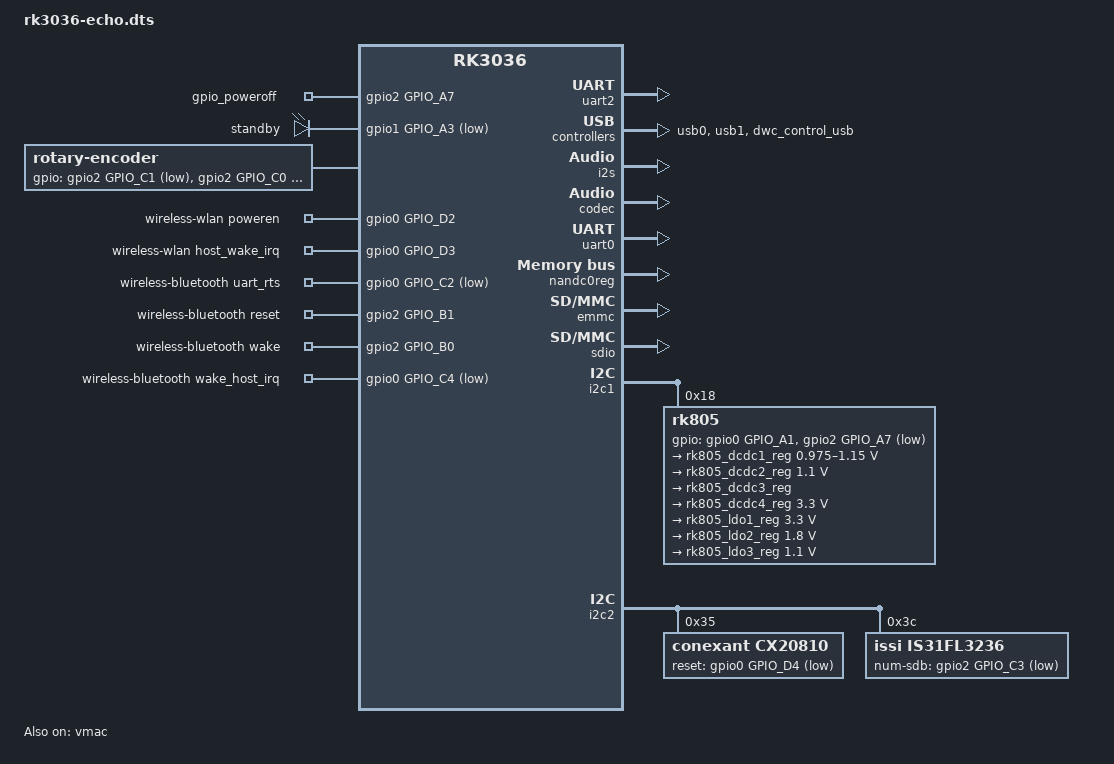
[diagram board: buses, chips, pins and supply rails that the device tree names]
/*
 * Copyright (c) 2016 Fuzhou Rockchip Electronics Co., Ltd
 *
 * This file is dual-licensed: you can use it either under the terms
 * of the GPL or the X11 license, at your option. Note that this dual
 * licensing only applies to this file, and not this project as a
 * whole.
 *
 *  a) This file is free software; you can redistribute it and/or
 *     modify it under the terms of the GNU General Public License as
 *     published by the Free Software Foundation; either version 2 of the
 *     License, or (at your option) any later version.
 *
 *     This file is distributed in the hope that it will be useful,
 *     but WITHOUT ANY WARRANTY; without even the implied warranty of
 *     MERCHANTABILITY or FITNESS FOR A PARTICULAR PURPOSE.  See the
 *     GNU General Public License for more details.
 *
 * Or, alternatively,
 *
 *  b) Permission is hereby granted, free of charge, to any person
 *     obtaining a copy of this software and associated documentation
 *     files (the "Software"), to deal in the Software without
 *     restriction, including without limitation the rights to use,
 *     copy, modify, merge, publish, distribute, sublicense, and/or
 *     sell copies of the Software, and to permit persons to whom the
 *     Software is furnished to do so, subject to the following
 *     conditions:
 *
 *     The above copyright notice and this permission notice shall be
 *     included in all copies or substantial portions of the Software.
 *
 *     THE SOFTWARE IS PROVIDED "AS IS", WITHOUT WARRANTY OF ANY KIND,
 *     EXPRESS OR IMPLIED, INCLUDING BUT NOT LIMITED TO THE WARRANTIES
 *     OF MERCHANTABILITY, FITNESS FOR A PARTICULAR PURPOSE AND
 *     NONINFRINGEMENT. IN NO EVENT SHALL THE AUTHORS OR COPYRIGHT
 *     HOLDERS BE LIABLE FOR ANY CLAIM, DAMAGES OR OTHER LIABILITY,
 *     WHETHER IN AN ACTION OF CONTRACT, TORT OR OTHERWISE, ARISING
 *     FROM, OUT OF OR IN CONNECTION WITH THE SOFTWARE OR THE USE OR
 *     OTHER DEALINGS IN THE SOFTWARE.
 */

/dts-v1/;
#include <dt-bindings/rkfb/rk_fb.h>
#include "rk3036.dtsi"
#include "rk3036-pinctrl.dtsi"
#include <dt-bindings/input/input.h>

/ {

	uart2 {
		status = "okay";
	};

	fiq-debugger {
		compatible = "rockchip,fiq-debugger";
		rockchip,serial-id = <2>;
		rockchip,signal-irq = <106>;
		rockchip,wake-irq = <0>;
		/* If enable uart uses irq instead of fiq */
		rockchip,irq-mode-enable = <1>;
		/* Only 115200 and 1500000 */
		rockchip,baudrate = <115200>;
		pinctrl-names = "default";
		pinctrl-0 = <&uart2_xfer>;
		status = "okay";
	};

	/* rk805 pmic sleep/poweroff */
	gpio_poweroff {
		compatible = "gpio-poweroff";
		gpios = <&gpio2 GPIO_A7 GPIO_ACTIVE_HIGH>;
		status = "okay";
	};

	power-led {
		compatible = "gpio-leds";
		power {
			label = "standby";
			gpios = <&gpio1 GPIO_A3 GPIO_ACTIVE_LOW>;
			default-state = "on";
		};
	};

	rotary {
		compatible = "rotary-encoder";
		gpios = <&gpio2 GPIO_C1 GPIO_ACTIVE_LOW>,
				<&gpio2 GPIO_C0 GPIO_ACTIVE_LOW>;
		linux,axis = <0>; /* REL_X */
		rotary-encoder,relative-axis;
	};

	wireless-wlan {
		compatible = "wlan-platdata";

		wifi_chip_type = "ap6212";
		sdio_vref = <0>; //1800mv or 3300mv

		//power_ctrl_by_pmu;
		//keep_wifi_power_on;
		//power_pmu_regulator = "act_ldo3";
		//power_pmu_enable_level = <1>; //1->HIGH, 0->LOW

		//vref_ctrl_enable;
		//vref_ctrl_gpio = <&gpio0 GPIO_A2 GPIO_ACTIVE_HIGH>;
		//vref_pmu_regulator = "act_ldo3";
		//vref_pmu_enable_level = <1>; //1->HIGH, 0->LOW

		WIFI,poweren_gpio = <&gpio0 GPIO_D2 GPIO_ACTIVE_HIGH>;
		WIFI,host_wake_irq = <&gpio0 GPIO_D3 GPIO_ACTIVE_HIGH>;
		//WIFI,reset_gpio = <&gpio2 GPIO_D6 GPIO_ACTIVE_LOW>;

		status = "okay";
};

	wireless-bluetooth {
		compatible = "bluetooth-platdata";
		//wifi-bt-power-toggle;

		uart_rts_gpios = <&gpio0 GPIO_C2 GPIO_ACTIVE_LOW>;
		pinctrl-names = "default","rts_gpio";
		pinctrl-0 = <&uart0_rts>;
		pinctrl-1 = <&uart0_rts_gpio>;

		//BT,power_gpio = <&gpio4 GPIO_D3 GPIO_ACTIVE_HIGH>;
		BT,reset_gpio = <&gpio2 GPIO_B1 GPIO_ACTIVE_HIGH>;
		BT,wake_gpio = <&gpio2 GPIO_B0 GPIO_ACTIVE_HIGH>;
		BT,wake_host_irq = <&gpio0 GPIO_C4 GPIO_ACTIVE_LOW>;

		status = "okay";
	};

	usb_control {
		compatible = "rockchip,rk3036-usb-control";
		//host_drv_gpio = <&gpio2 GPIO_C7 GPIO_ACTIVE_LOW>;
		//otg_drv_gpio = <&gpio0 GPIO_D2 GPIO_ACTIVE_LOW>;

		rockchip,remote_wakeup;
		rockchip,usb_irq_wakeup;
	};

	usb0: usb@10180000 {
		  /*0 - Normal, 1 - Force Host, 2 - Force Device*/
		  rockchip,usb-mode = <0>;
	};

	key {
		compatible = "rockchip,key";
		echo-wake-up {
			gpios = <&gpio2 GPIO_D1 GPIO_ACTIVE_LOW>;
			linux,code = <207>;
			label = "wake up";
		};
	};

	rockchip-audio {
		compatible = "rk3036-audio";
		dais {
			dai0 {
				audio-codec = <&codec>;
				audio-controller = <&i2s>;
				format = "i2s";
				//continuous-clock;
				//bitclock-inversion;
				//frame-inversion;
				//bitclock-master;
				//frame-master;
			};
		};
	};
};

&i2s {
	status = "okay";
};

&codec {
	status = "okay";
};

&uart0{
	status = "okay";
	dma-names = "!tx", "!rx";
	pinctrl-0 = <&uart0_xfer &uart0_cts>;
};

&sfc {
	/* use spi flash set "okay", otherwise set "disabled" */
	status = "disabled";
};

&nandc {
	/* used nand set "okay" ,used emmc set "disabled" */
	status = "disabled";
};

&nandc0reg {
	/* used nand set "disabled" ,used emmc set "okay" */
	status = "okay";
};

&emmc {
	clock-frequency = <37500000>;
	clock-freq-min-max = <400000 37500000>;

	supports-highspeed;
	supports-emmc;
	bootpart-no-access;

	supports-DDR_MODE;

	ignore-pm-notify;
	keep-power-in-suspend;

	//poll-hw-reset
	status = "okay";
};

&sdmmc {
	clock-frequency = <37500000>;
	clock-freq-min-max = <400000 37500000>;
	supports-highspeed;
	supports-sd;
	broken-cd;
	card-detect-delay = <200>;

	ignore-pm-notify;
	keep-power-in-suspend;

	//vmmc-supply = <&rk808_ldo5_reg>;
	status = "disabled";
};

&sdio {
	clock-frequency = <37500000>;
	clock-freq-min-max = <200000 37500000>;
	supports-highspeed;
	supports-sdio;
	ignore-pm-notify;
	keep-power-in-suspend;
	cap-sdio-irq;
	status = "okay";
};


&vmac {
	status = "okay";
	//pmu_regulator = "act_ldo5";
	//pmu_enable_level = <1>; //1->HIGH, 0->LOW
	//power-gpio = <&gpio0 GPIO_A6 GPIO_ACTIVE_HIGH>;
	reset-gpio = <&gpio2 GPIO_C6 GPIO_ACTIVE_LOW>;
};

&usb0 {
	status = "okay";
};

&usb1 {
	rockchip,hc-halt-quirk;
	status = "okay";
};

&dwc_control_usb {
	status = "okay";
	usb_uart {
		status = "disabled";
	};
};

&i2c1 {
	status = "okay";
	rk805: rk805@18 {
		reg = <0x18>;
		status = "okay";
	};
};

&i2c2 {
	status = "okay";
	rockchip,bus-recovery = <1>;

	cx20810: cx20810@35 {
		compatible = "conexant,cx20810";
		reg = <0x35>;
		rockchip,reset-gpio = <&gpio0 GPIO_D4 GPIO_ACTIVE_LOW>;
		status = "okay";
	};

	is31fl3236: led-controller@3c {
		compatible = "issi,is31fl3236";
		reg = <0x3c>;
		#address-cells = <1>;
		#size-cells = <0>;
		rockchip,num-sdb-gpio = <&gpio2 GPIO_C3 GPIO_ACTIVE_LOW>;
		status = "okay";

		led1: led@1 {
			label = "led1";
			reg = <1>;
			led-max-microamp = <10000>;
			linux,default-trigger = "timer";
			linux,default-trigger-delay-ms = <0>;
			linux,blink-delay-on-ms = <100>;
			linux,blink-delay-off-ms = <1200>;
		};

		led2: led@2 {
			label = "led2";
			reg = <2>;
			led-max-microamp = <10000>;
			linux,default-trigger = "timer";
			linux,default-trigger-delay-ms = <0>;
			linux,blink-delay-on-ms = <100>;
			linux,blink-delay-off-ms = <1200>;
		};

		led3: led@3 {
			label = "led3";
			reg = <3>;
			led-max-microamp = <10000>;
			linux,default-trigger = "default-on";
		};

		led4: led@4 {
			label = "led4";
			reg = <4>;
			led-max-microamp = <10000>;
			linux,default-trigger = "timer";
			linux,default-trigger-delay-ms = <100>;
			linux,blink-delay-on-ms = <100>;
			linux,blink-delay-off-ms = <1200>;
		};

		led5: led@5 {
			label = "led5";
			reg = <5>;
			led-max-microamp = <10000>;
			linux,default-trigger = "timer";
			linux,default-trigger-delay-ms = <100>;
			linux,blink-delay-on-ms = <100>;
			linux,blink-delay-off-ms = <1200>;
		};

		led6: led@6 {
			label = "led6";
			reg = <6>;
			led-max-microamp = <10000>;
			linux,default-trigger = "default-on";
		};

		led7: led@7 {
			label = "led7";
			reg = <7>;
			led-max-microamp = <10000>;
			linux,default-trigger = "timer";
			linux,default-trigger-delay-ms = <200>;
			linux,blink-delay-on-ms = <100>;
			linux,blink-delay-off-ms = <1200>;
		};

		led8: led@8 {
			label = "led8";
			reg = <8>;
			led-max-microamp = <10000>;
			linux,default-trigger = "timer";
			linux,default-trigger-delay-ms = <200>;
			linux,blink-delay-on-ms = <100>;
			linux,blink-delay-off-ms = <1200>;
		};

		led9: led@9 {
			label = "led9";
			reg = <9>;
			led-max-microamp = <10000>;
			linux,default-trigger = "default-on";
		};

		led10: led@10 {
			label = "led10";
			reg = <10>;
			led-max-microamp = <10000>;
			linux,default-trigger = "timer";
			linux,default-trigger-delay-ms = <300>;
			linux,blink-delay-on-ms = <100>;
			linux,blink-delay-off-ms = <1200>;
		};

		led11: led@11 {
			label = "led11";
			reg = <11>;
			led-max-microamp = <10000>;
			linux,default-trigger = "timer";
			linux,default-trigger-delay-ms = <300>;
			linux,blink-delay-on-ms = <100>;
			linux,blink-delay-off-ms = <1200>;
		};

		led12: led@12 {
			label = "led12";
			reg = <12>;
			led-max-microamp = <10000>;
			linux,default-trigger = "default-on";
		};

		led13: led@13 {
			label = "led13";
			reg = <13>;
			led-max-microamp = <10000>;
			linux,default-trigger = "timer";
			linux,default-trigger-delay-ms = <400>;
			linux,blink-delay-on-ms = <100>;
			linux,blink-delay-off-ms = <1200>;
		};

		led14: led@14 {
			label = "led14";
			reg = <14>;
			led-max-microamp = <10000>;
			linux,default-trigger = "timer";
			linux,default-trigger-delay-ms = <400>;
			linux,blink-delay-on-ms = <100>;
			linux,blink-delay-off-ms = <1200>;
		};

		led15: led@15 {
			label = "led15";
			reg = <15>;
			led-max-microamp = <10000>;
			linux,default-trigger = "default-on";
		};

		led16: led@16 {
			label = "led16";
			reg = <16>;
			led-max-microamp = <10000>;
			linux,default-trigger = "timer";
			linux,default-trigger-delay-ms = <500>;
			linux,blink-delay-on-ms = <100>;
			linux,blink-delay-off-ms = <1200>;
		};

		led17: led@17 {
			label = "led17";
			reg = <17>;
			led-max-microamp = <10000>;
			linux,default-trigger = "timer";
			linux,default-trigger-delay-ms = <500>;
			linux,blink-delay-on-ms = <100>;
			linux,blink-delay-off-ms = <1200>;
		};

		led18: led@18 {
			label = "led18";
			reg = <18>;
			led-max-microamp = <10000>;
			linux,default-trigger = "default-on";
		};

		led19: led@19 {
			label = "led19";
			reg = <19>;
			led-max-microamp = <10000>;
			linux,default-trigger = "timer";
			linux,default-trigger-delay-ms = <600>;
			linux,blink-delay-on-ms = <100>;
			linux,blink-delay-off-ms = <1200>;
		};

		led20: led@20 {
			label = "led20";
			reg = <20>;
			led-max-microamp = <10000>;
			linux,default-trigger = "timer";
			linux,default-trigger-delay-ms = <600>;
			linux,blink-delay-on-ms = <100>;
			linux,blink-delay-off-ms = <1200>;
		};

		led21: led@21 {
			label = "led21";
			reg = <21>;
			led-max-microamp = <10000>;
			linux,default-trigger = "default-on";
		};

		led22: led@22 {
			label = "led22";
			reg = <22>;
			led-max-microamp = <10000>;
			linux,default-trigger = "timer";
			linux,default-trigger-delay-ms = <700>;
			linux,blink-delay-on-ms = <100>;
			linux,blink-delay-off-ms = <1200>;
		};

		led23: led@23 {
			label = "led23";
			reg = <23>;
			led-max-microamp = <10000>;
			linux,default-trigger = "timer";
			linux,default-trigger-delay-ms = <700>;
			linux,blink-delay-on-ms = <100>;
			linux,blink-delay-off-ms = <1200>;
		};

		led124: led@24 {
			label = "led24";
			reg = <24>;
			led-max-microamp = <10000>;
			linux,default-trigger = "default-on";
		};

		led25: led@25 {
			label = "led25";
			reg = <25>;
			led-max-microamp = <10000>;
			linux,default-trigger = "timer";
			linux,default-trigger-delay-ms = <800>;
			linux,blink-delay-on-ms = <100>;
			linux,blink-delay-off-ms = <1200>;
		};

		led26: led@26 {
			label = "led26";
			reg = <26>;
			led-max-microamp = <10000>;
			linux,default-trigger = "timer";
			linux,default-trigger-delay-ms = <800>;
			linux,blink-delay-on-ms = <100>;
			linux,blink-delay-off-ms = <1200>;
		};

		led27: led@27 {
			label = "led27";
			reg = <27>;
			led-max-microamp = <10000>;
			linux,default-trigger = "default-on";
		};

		led28: led@28 {
			label = "led28";
			reg = <28>;
			led-max-microamp = <10000>;
			linux,default-trigger = "timer";
			linux,default-trigger-delay-ms = <900>;
			linux,blink-delay-on-ms = <100>;
			linux,blink-delay-off-ms = <1200>;
		};

		led29: led@29 {
			label = "led29";
			reg = <29>;
			led-max-microamp = <10000>;
			linux,default-trigger = "timer";
			linux,default-trigger-delay-ms = <900>;
			linux,blink-delay-on-ms = <100>;
			linux,blink-delay-off-ms = <1200>;
		};

		led30: led@30 {
			label = "led30";
			reg = <30>;
			led-max-microamp = <10000>;
			linux,default-trigger = "default-on";
		};

		led31: led@31 {
			label = "led31";
			reg = <31>;
			led-max-microamp = <10000>;
			linux,default-trigger = "timer";
			linux,default-trigger-delay-ms = <1000>;
			linux,blink-delay-on-ms = <100>;
			linux,blink-delay-off-ms = <1200>;
		};

		led32: led@32 {
			label = "led32";
			reg = <32>;
			led-max-microamp = <10000>;
			linux,default-trigger = "timer";
			linux,default-trigger-delay-ms = <1000>;
			linux,blink-delay-on-ms = <100>;
			linux,blink-delay-off-ms = <1200>;
		};

		led33: led@33 {
			label = "led33";
			reg = <33>;
			led-max-microamp = <10000>;
			linux,default-trigger = "default-on";
		};

		led34: led@34 {
			label = "led34";
			reg = <34>;
			led-max-microamp = <10000>;
			linux,default-trigger = "timer";
			linux,default-trigger-delay-ms = <1100>;
			linux,blink-delay-on-ms = <100>;
			linux,blink-delay-off-ms = <1200>;
		};

		led35: led@35 {
			label = "led35";
			reg = <35>;
			led-max-microamp = <10000>;
			linux,default-trigger = "timer";
			linux,default-trigger-delay-ms = <1100>;
			linux,blink-delay-on-ms = <100>;
			linux,blink-delay-off-ms = <1200>;
		};

		led36: led@36 {
			label = "led36";
			reg = <36>;
			led-max-microamp = <10000>;
			linux,default-trigger = "default-on";
		};
	};
};

#include "rk805.dtsi"
&rk805 {
	gpios = <&gpio0 GPIO_A1 GPIO_ACTIVE_HIGH>,
		<&gpio2 GPIO_A7 GPIO_ACTIVE_LOW>;
	rk805,system-power-controller;
	rk805,support_dc_chg = <1>; /* 1: dc chg; 0: usb chg */

	rtc {
		status = "okay";
	};

	regulators {
		rk805_dcdc1_reg: regulator@0 {
			regulator-name = "vdd_arm";
			regulator-min-microvolt = <975000>;
			regulator-max-microvolt = <1150000>;
			regulator-initial-mode = <0x1>;
			regulator-initial-state = <3>;
			regulator-boot-on;
			regulator-always-on;
			regulator-state-mem {
				regulator-state-mode = <0x2>;
				regulator-state-enabled;
				regulator-state-uv = <975000>;
			};
		};

		rk805_dcdc2_reg: regulator@1 {
			regulator-name = "vcc_dummy";
			regulator-min-microvolt = <1100000>;
			regulator-max-microvolt = <1100000>;
			regulator-initial-mode = <0x1>;
			regulator-initial-state = <3>;
			regulator-boot-on;
			regulator-always-on;
			regulator-state-mem {
				regulator-state-mode = <0x2>;
				regulator-state-enabled;
				regulator-state-uv = <1100000>;
			};
		};

		/*
		 * dcdc3 can't set by software, the voltage is
		 * decided by hardware.
		 */
		rk805_dcdc3_reg: regulator@2 {
			regulator-name = "vcc_ddr";
			regulator-initial-mode = <0x1>;
			regulator-initial-state = <3>;
			regulator-boot-on;
			regulator-always-on;
			regulator-state-mem {
				regulator-state-mode = <0x2>;
				regulator-state-enabled;
			};
		};

		rk805_dcdc4_reg: regulator@3 {
			regulator-name = "vcc_33";
			regulator-min-microvolt = <3300000>;
			regulator-max-microvolt = <3300000>;
			regulator-initial-mode = <0x1>;
			regulator-initial-state = <3>;
			regulator-boot-on;
			regulator-always-on;
			regulator-state-mem {
				regulator-state-mode = <0x2>;
				regulator-state-enabled;
				regulator-state-uv = <3300000>;
			};
		};

		rk805_ldo1_reg: regulator@4 {
			regulator-name = "vcca_33";
			regulator-min-microvolt = <3300000>;
			regulator-max-microvolt = <3300000>;
			regulator-initial-state = <3>;
			regulator-boot-on;
			regulator-always-on;
			regulator-state-mem {
				regulator-state-enabled;
				regulator-state-uv = <3300000>;
			};
		};

		rk805_ldo2_reg: regulator@5 {
			regulator-name = "vcc_18";
			regulator-min-microvolt = <1800000>;
			regulator-max-microvolt = <1800000>;
			regulator-initial-state = <3>;
			regulator-boot-on;
			regulator-always-on;
			regulator-state-mem {
				regulator-state-enabled;
				regulator-state-uv = <1800000>;
			};
		};

		rk805_ldo3_reg: regulator@6 {
			regulator-name = "vdd10_pmu";
			regulator-min-microvolt = <1100000>;
			regulator-max-microvolt = <1100000>;
			regulator-initial-state = <3>;
			regulator-boot-on;
			regulator-always-on;
			regulator-state-mem {
				regulator-state-enabled;
				regulator-state-uv = <1100000>;
			};
		};
	};
};

&clk_core_dvfs_table {
	operating-points = <
		/* KHz    uV */
		408000 1000000
		600000 1000000
		816000 1100000
		1008000 1150000
	>;
	status = "okay";
};

&clk_ddr_dvfs_table {
	operating-points = <
		/* KHz    uV */
		300000 975000
	>;
	status = "okay";
};

&codec {
	spk_ctl_io = <&gpio2 GPIO_B7 GPIO_ACTIVE_LOW>;
};
